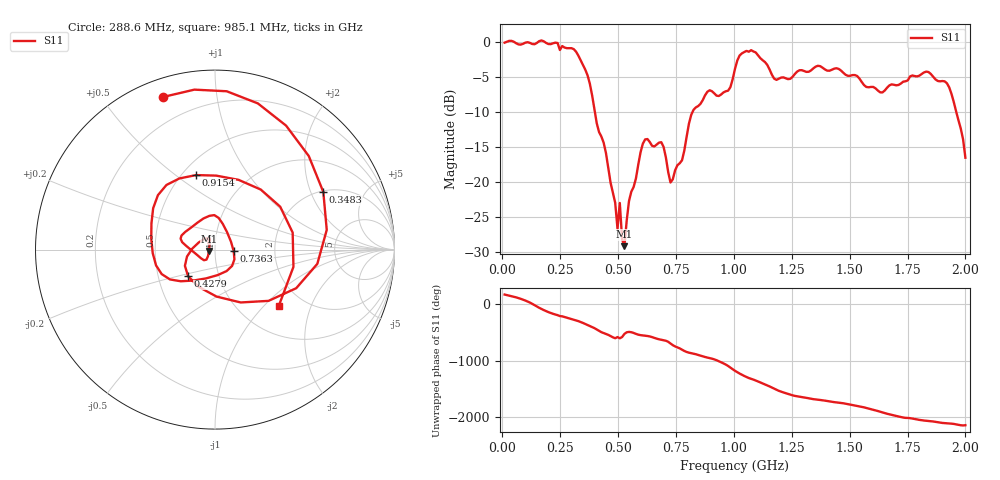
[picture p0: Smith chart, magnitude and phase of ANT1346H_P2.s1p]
!Created with skrf (http://scikit-rf.org).
# Hz S RI R 50.0
!freq ReS11 ImS11
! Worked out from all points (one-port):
!   201 points, 10 MHz to 2 GHz, reference 50 ohm
!   lowest |S11| = -29.1 dB at 527.4 MHz (marker M1), VSWR 1.07, Z = 46.7 - j0.763 ohm
!   |S11| at or under -10 dB: 399.6 MHz to 821.9 MHz (422.3 MHz wide, 69.1 % of centre); 1.96 GHz to end of sweep
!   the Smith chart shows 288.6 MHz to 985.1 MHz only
!   S11 on the Smith chart (normalised r, x): 288.6 MHz: 0.08, +0.71; 348.3 MHz: 2.05, +2.47; 427.9 MHz: 0.71, -0.22; 736.4 MHz: 1.23, -0.02; 915.5 MHz: 0.59, +0.60; 985.1 MHz: 1.51, -1.22
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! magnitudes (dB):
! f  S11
! 10 MHz  -0.1
! 258.8 MHz  -0.6
! 288.6 MHz  -0.9
! 348.3 MHz  -3.3
! 427.9 MHz  -13.5
! 487.6 MHz  -23.0
! 497.6 MHz  -26.7
! 507.5 MHz  -23.0
! 517.5 MHz  -28.1
! 527.4 MHz  -29.1
! 547.3 MHz  -22.7
! 617 MHz  -13.9
! 686.6 MHz  -14.3
! 736.4 MHz  -19.6
! 756.2 MHz  -17.6
! 776.1 MHz  -16.9
! 825.9 MHz  -9.7
! 915.5 MHz  -7.4
! 985.1 MHz  -6.5
! 1.005 GHz  -3.9
! 1.075 GHz  -1.2
! 1.174 GHz  -5.3
! 1.254 GHz  -5.0
! 1.502 GHz  -4.9
! 1.632 GHz  -7.2
! 1.751 GHz  -5.5
! 1.92 GHz  -5.9
! 2 GHz  -16.5
